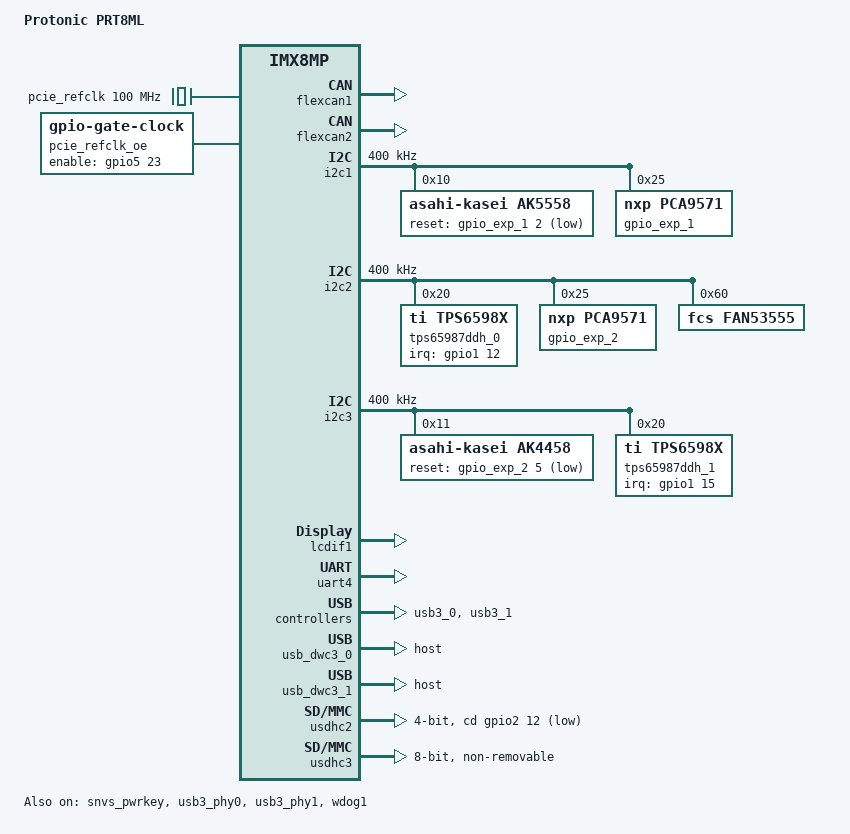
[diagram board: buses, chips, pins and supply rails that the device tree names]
// SPDX-License-Identifier: (GPL-2.0 OR MIT)
/*
 * Copyright 2020 Protonic Holland
 * Copyright 2019 NXP
 */

/dts-v1/;

#include "imx8mp.dtsi"

/ {
	model = "Protonic PRT8ML";
	compatible = "prt,prt8ml", "fsl,imx8mp";

	chosen {
		stdout-path = &uart4;
	};

	clock_sja1105: clock-sja1105 {
		compatible = "fixed-clock";
		#clock-cells = <0>;
		clock-frequency = <25000000>;
	};

	pcie_refclk: pcie0-refclk {
		compatible = "fixed-clock";
		#clock-cells = <0>;
		clock-frequency = <100000000>;
	};

	pcie_refclk_oe: pcie0-refclk-oe {
		compatible = "gpio-gate-clock";
		pinctrl-names = "default";
		pinctrl-0 = <&pinctrl_pcie_refclk>;
		clocks = <&pcie_refclk>;
		#clock-cells = <0>;
		enable-gpios = <&gpio5 23 GPIO_ACTIVE_HIGH>;
	};
};

&A53_0 {
	cpu-supply = <&fan53555>;
};

&A53_1 {
	cpu-supply = <&fan53555>;
};

&A53_2 {
	cpu-supply = <&fan53555>;
};

&A53_3 {
	cpu-supply = <&fan53555>;
};

&a53_opp_table {
	opp-1200000000 {
		opp-microvolt = <900000>;
	};

	opp-1600000000 {
		opp-microvolt = <980000>;
	};

	/delete-node/ opp-1800000000;
};

&flexcan1 {
	pinctrl-names = "default";
	pinctrl-0 = <&pinctrl_flexcan1>;
	status = "okay";
};

&flexcan2 {
	pinctrl-names = "default";
	pinctrl-0 = <&pinctrl_flexcan2>;
	status = "okay";
};

&i2c1 {
	clock-frequency = <400000>;
	pinctrl-names = "default";
	pinctrl-0 = <&pinctrl_i2c1>;
	status = "okay";

	ak5558: codec@10 {
		compatible = "asahi-kasei,ak5558";
		reg = <0x10>;
		reset-gpios = <&gpio_exp_1 2 GPIO_ACTIVE_LOW>;
	};

	gpio_exp_1: gpio@25 {
		compatible = "nxp,pca9571";
		reg = <0x25>;
		gpio-controller;
		#gpio-cells = <2>;
	};
};

&i2c2 {
	clock-frequency = <400000>;
	pinctrl-names = "default";
	pinctrl-0 = <&pinctrl_i2c2>;
	status = "okay";

	tps65987ddh_0: usb-pd@20 {
		compatible = "ti,tps6598x";
		reg = <0x20>;
		pinctrl-names = "default";
		pinctrl-0 = <&pinctrl_tps65987ddh_0>;
		interrupt-parent = <&gpio1>;
		interrupts = <12 IRQ_TYPE_LEVEL_LOW>;
	};

	gpio_exp_2: gpio@25 {
		compatible = "nxp,pca9571";
		reg = <0x25>;
		gpio-controller;
		#gpio-cells = <2>;

		c0-hreset-hog {
			gpio-hog;
			gpios = <7 GPIO_ACTIVE_LOW>;
			line-name = "c0-hreset";
			output-low;
		};

		c1-hreset-hog {
			gpio-hog;
			gpios = <6 GPIO_ACTIVE_LOW>;
			line-name = "c1-hreset";
			output-low;
		};
	};

	fan53555: regulator@60 {
		compatible = "fcs,fan53555";
		reg = <0x60>;
		pinctrl-names = "default";
		pinctrl-0 = <&pinctrl_fan53555>;
		regulator-name = "fan53555";
		regulator-min-microvolt = <900000>;
		regulator-max-microvolt = <980000>;
		regulator-always-on;
		regulator-boot-on;
		fcs,suspend-voltage-selector = <1>;
	};
};

&i2c3 {
	clock-frequency = <400000>;
	pinctrl-names = "default";
	pinctrl-0 = <&pinctrl_i2c3>;
	status = "okay";

	ak4458: codec@11 {
		compatible = "asahi-kasei,ak4458";
		reg = <0x11>;
		#sound-dai-cells = <0>;
		reset-gpios = <&gpio_exp_2 5 GPIO_ACTIVE_LOW>;
	};

	tps65987ddh_1: usb-pd@20 {
		compatible = "ti,tps6598x";
		reg = <0x20>;
		pinctrl-names = "default";
		pinctrl-0 = <&pinctrl_tps65987ddh_1>;
		interrupt-parent = <&gpio1>;
		interrupts = <15 IRQ_TYPE_LEVEL_LOW>;
	};
};

&lcdif1 {
	status = "okay";
};

&snvs_pwrkey {
	status = "okay";
};

&uart4 {
	pinctrl-names = "default";
	pinctrl-0 = <&pinctrl_uart4>;
	status = "okay";
};

&usb3_0 {
	status = "okay";
};

&usb3_1 {
	status = "okay";
};

&usb3_phy0 {
	status = "okay";
};

&usb3_phy1 {
	status = "okay";
};

&usb_dwc3_0 {
	dr_mode = "host";
	status = "okay";
};

&usb_dwc3_1 {
	dr_mode = "host";
	status = "okay";
};

&usdhc2 {
	pinctrl-names = "default", "state_100mhz", "state_200mhz";
	pinctrl-0 = <&pinctrl_usdhc2>, <&pinctrl_usdhc2_gpio>;
	pinctrl-1 = <&pinctrl_usdhc2_100mhz>, <&pinctrl_usdhc2_gpio>;
	pinctrl-2 = <&pinctrl_usdhc2_200mhz>, <&pinctrl_usdhc2_gpio>;
	assigned-clocks = <&clk IMX8MP_CLK_USDHC2>;
	assigned-clock-rates = <100000000>;
	bus-width = <4>;
	cd-gpios = <&gpio2 12 GPIO_ACTIVE_LOW>;
	no-1-8-v;
	sd-uhs-sdr12;
	sd-uhs-sdr25;
	status = "okay";
};

&usdhc3 {
	pinctrl-names = "default", "state_100mhz", "state_200mhz";
	pinctrl-0 = <&pinctrl_usdhc3>;
	pinctrl-1 = <&pinctrl_usdhc3_100mhz>;
	pinctrl-2 = <&pinctrl_usdhc3_200mhz>;
	assigned-clocks = <&clk IMX8MP_CLK_USDHC3_ROOT>;
	assigned-clock-rates = <400000000>;
	bus-width = <8>;
	non-removable;
	no-sdio;
	no-sd;
	status = "okay";
};

&wdog1 {
	pinctrl-names = "default";
	pinctrl-0 = <&pinctrl_wdog>;
	fsl,ext-reset-output;
	status = "okay";
};

&iomuxc {
	pinctrl_fan53555: fan53555grp {
		fsl,pins = <
			MX8MP_IOMUXC_SPDIF_EXT_CLK__GPIO5_IO05		0x114
		>;
	};

	pinctrl_flexcan1: flexcan1grp {
		fsl,pins = <
			MX8MP_IOMUXC_SPDIF_RX__CAN1_RX		0x154
			MX8MP_IOMUXC_SPDIF_TX__CAN1_TX		0x154
		>;
	};

	pinctrl_flexcan2: flexcan2grp {
		fsl,pins = <
			MX8MP_IOMUXC_UART3_TXD__CAN2_RX		0x154
			MX8MP_IOMUXC_UART3_RXD__CAN2_TX		0x154
		>;
	};

	pinctrl_i2c1: i2c1grp {
		fsl,pins = <
			MX8MP_IOMUXC_ECSPI1_SCLK__I2C1_SCL	0x400000c3
			MX8MP_IOMUXC_ECSPI1_MOSI__I2C1_SDA	0x400000c3
		>;
	};

	pinctrl_i2c2: i2c2grp {
		fsl,pins = <
			MX8MP_IOMUXC_I2C2_SCL__I2C2_SCL		0x400000c3
			MX8MP_IOMUXC_I2C2_SDA__I2C2_SDA		0x400000c3
		>;
	};

	pinctrl_i2c3: i2c3grp {
		fsl,pins = <
			MX8MP_IOMUXC_I2C3_SCL__I2C3_SCL		0x400000c3
			MX8MP_IOMUXC_I2C3_SDA__I2C3_SDA		0x400000c3
		>;
	};

	pinctrl_pcie_refclk: pcierefclkgrp {
		fsl,pins = <
			MX8MP_IOMUXC_UART1_TXD__GPIO5_IO23	0xc6
		>;
	};

	pinctrl_tps65987ddh_0: tps65987ddh_0grp {
		fsl,pins = <
			MX8MP_IOMUXC_GPIO1_IO12__GPIO1_IO12	0x1d0
		>;
	};

	pinctrl_tps65987ddh_1: tps65987ddh_1grp {
		fsl,pins = <
			MX8MP_IOMUXC_GPIO1_IO15__GPIO1_IO15	0x1d0
		>;
	};

	pinctrl_uart4: uart4grp {
		fsl,pins = <
			MX8MP_IOMUXC_UART4_RXD__UART4_DCE_RX		0x040
			MX8MP_IOMUXC_UART4_TXD__UART4_DCE_TX		0x040
		>;
	};

	pinctrl_usdhc2: usdhc2grp {
		fsl,pins = <
			MX8MP_IOMUXC_SD2_CLK__USDHC2_CLK		0x190
			MX8MP_IOMUXC_SD2_CMD__USDHC2_CMD		0x1d0
			MX8MP_IOMUXC_SD2_DATA0__USDHC2_DATA0		0x1d0
			MX8MP_IOMUXC_SD2_DATA1__USDHC2_DATA1		0x1d0
			MX8MP_IOMUXC_SD2_DATA2__USDHC2_DATA2		0x1d0
			MX8MP_IOMUXC_SD2_DATA3__USDHC2_DATA3		0x1d0
		>;
	};

	pinctrl_usdhc2_100mhz: usdhc2-100mhzgrp {
		fsl,pins = <
			MX8MP_IOMUXC_SD2_CLK__USDHC2_CLK		0x194
			MX8MP_IOMUXC_SD2_CMD__USDHC2_CMD		0x1d4
			MX8MP_IOMUXC_SD2_DATA0__USDHC2_DATA0		0x1d4
			MX8MP_IOMUXC_SD2_DATA1__USDHC2_DATA1		0x1d4
			MX8MP_IOMUXC_SD2_DATA2__USDHC2_DATA2		0x1d4
			MX8MP_IOMUXC_SD2_DATA3__USDHC2_DATA3		0x1d4
		>;
	};

	pinctrl_usdhc2_200mhz: usdhc2-200mhzgrp {
		fsl,pins = <
			MX8MP_IOMUXC_SD2_CLK__USDHC2_CLK		0x196
			MX8MP_IOMUXC_SD2_CMD__USDHC2_CMD		0x1d6
			MX8MP_IOMUXC_SD2_DATA0__USDHC2_DATA0		0x1d6
			MX8MP_IOMUXC_SD2_DATA1__USDHC2_DATA1		0x1d6
			MX8MP_IOMUXC_SD2_DATA2__USDHC2_DATA2		0x1d6
			MX8MP_IOMUXC_SD2_DATA3__USDHC2_DATA3		0x1d6
		>;
	};

	pinctrl_usdhc2_gpio: usdhc2-gpiogrp {
		fsl,pins = <
			MX8MP_IOMUXC_SD2_CD_B__GPIO2_IO12		0x0d4
		>;
	};

	pinctrl_usdhc3: usdhc3grp {
		fsl,pins = <
			MX8MP_IOMUXC_NAND_WE_B__USDHC3_CLK		0x190
			MX8MP_IOMUXC_NAND_WP_B__USDHC3_CMD		0x1d0
			MX8MP_IOMUXC_NAND_DATA04__USDHC3_DATA0		0x1d0
			MX8MP_IOMUXC_NAND_DATA05__USDHC3_DATA1		0x1d0
			MX8MP_IOMUXC_NAND_DATA06__USDHC3_DATA2		0x1d0
			MX8MP_IOMUXC_NAND_DATA07__USDHC3_DATA3		0x1d0
			MX8MP_IOMUXC_NAND_RE_B__USDHC3_DATA4		0x1d0
			MX8MP_IOMUXC_NAND_CE2_B__USDHC3_DATA5		0x1d0
			MX8MP_IOMUXC_NAND_CE3_B__USDHC3_DATA6		0x1d0
			MX8MP_IOMUXC_NAND_CLE__USDHC3_DATA7		0x1d0
			MX8MP_IOMUXC_NAND_CE1_B__USDHC3_STROBE		0x190
		>;
	};

	pinctrl_usdhc3_100mhz: usdhc3-100mhzgrp {
		fsl,pins = <
			MX8MP_IOMUXC_NAND_WE_B__USDHC3_CLK		0x194
			MX8MP_IOMUXC_NAND_WP_B__USDHC3_CMD		0x1d4
			MX8MP_IOMUXC_NAND_DATA04__USDHC3_DATA0		0x1d4
			MX8MP_IOMUXC_NAND_DATA05__USDHC3_DATA1		0x1d4
			MX8MP_IOMUXC_NAND_DATA06__USDHC3_DATA2		0x1d4
			MX8MP_IOMUXC_NAND_DATA07__USDHC3_DATA3		0x1d4
			MX8MP_IOMUXC_NAND_RE_B__USDHC3_DATA4		0x1d4
			MX8MP_IOMUXC_NAND_CE2_B__USDHC3_DATA5		0x1d4
			MX8MP_IOMUXC_NAND_CE3_B__USDHC3_DATA6		0x1d4
			MX8MP_IOMUXC_NAND_CLE__USDHC3_DATA7		0x1d4
			MX8MP_IOMUXC_NAND_CE1_B__USDHC3_STROBE		0x194
		>;
	};

	pinctrl_usdhc3_200mhz: usdhc3-200mhzgrp {
		fsl,pins = <
			MX8MP_IOMUXC_NAND_WE_B__USDHC3_CLK		0x196
			MX8MP_IOMUXC_NAND_WP_B__USDHC3_CMD		0x1d6
			MX8MP_IOMUXC_NAND_DATA04__USDHC3_DATA0		0x1d6
			MX8MP_IOMUXC_NAND_DATA05__USDHC3_DATA1		0x1d6
			MX8MP_IOMUXC_NAND_DATA06__USDHC3_DATA2		0x1d6
			MX8MP_IOMUXC_NAND_DATA07__USDHC3_DATA3		0x1d6
			MX8MP_IOMUXC_NAND_RE_B__USDHC3_DATA4		0x1d6
			MX8MP_IOMUXC_NAND_CE2_B__USDHC3_DATA5		0x1d6
			MX8MP_IOMUXC_NAND_CE3_B__USDHC3_DATA6		0x1d6
			MX8MP_IOMUXC_NAND_CLE__USDHC3_DATA7		0x1d6
			MX8MP_IOMUXC_NAND_CE1_B__USDHC3_STROBE		0x196
		>;
	};

	pinctrl_wdog: wdoggrp {
		fsl,pins = <
			MX8MP_IOMUXC_GPIO1_IO02__WDOG1_WDOG_B		0x166
		>;
	};
};
